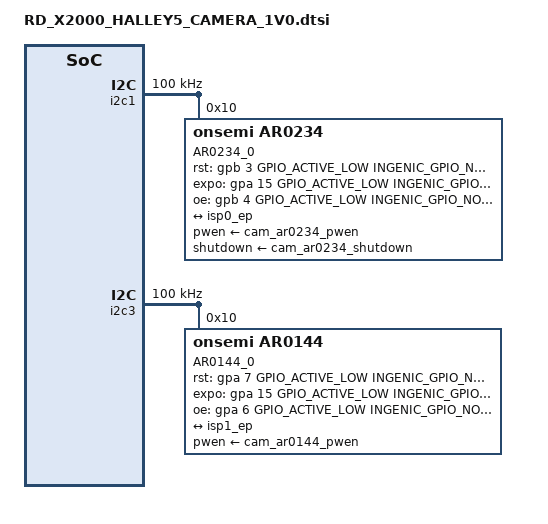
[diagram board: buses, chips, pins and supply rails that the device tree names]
&i2c1 {
	status = "okay";
	clock-frequency = <100000>;
	timeout = <1000>;
	pinctrl-names = "default";
	pinctrl-0 = <&i2c1_pc>;

	AR0234_0:AR0234@0x10 {
		status = "ok";
		compatible = "onsemi,ar0234";
		reg = <0x10>;
		pinctrl-names = "default";
		pinctrl-0 = <&cim_vic_mclk_pc>;

		ingenic,rst-gpio = <&gpb 3 GPIO_ACTIVE_LOW INGENIC_GPIO_NOBIAS>;
		ingenic,expo-gpio = <&gpa 15 GPIO_ACTIVE_LOW INGENIC_GPIO_NOBIAS>;
		ingenic,oe-gpio = <&gpb 4 GPIO_ACTIVE_LOW INGENIC_GPIO_NOBIAS>;
		pwen-supply = <&cam_ar0234_pwen>;
		shutdown-supply = <&cam_ar0234_shutdown>;

		port {
			AR0234_ep0:endpoint {
				remote-endpoint = <&isp0_ep>;
			};
		};
	};
};

&i2c3 {
	status = "okay";
	clock-frequency = <100000>;
	timeout = <1000>;
	pinctrl-names = "default";
	pinctrl-0 = <&i2c3_pa>;

	AR0144_0:AR0144@0x10 {
		status = "ok";
		compatible = "onsemi,ar0144";
		reg = <0x10>;
		pinctrl-names = "default";
		pinctrl-0 = <&cim_vic_mclk_pe>;

		ingenic,rst-gpio = <&gpa 7 GPIO_ACTIVE_LOW INGENIC_GPIO_NOBIAS>;
		ingenic,expo-gpio = <&gpa 15 GPIO_ACTIVE_LOW INGENIC_GPIO_NOBIAS>;
		ingenic,oe-gpio = <&gpa 6 GPIO_ACTIVE_LOW INGENIC_GPIO_NOBIAS>;
		pwen-supply = <&cam_ar0144_pwen>;

		port {
			AR0144_ep0:endpoint {
				remote-endpoint = <&isp1_ep>;
			};
		};
	};
};

&isp0_ep {
	remote-endpoint = <&AR0234_ep0>;
	data-lanes = <0 1>;
	clk-lanes = <2>;
};

&isp1_ep {
	remote-endpoint = <&AR0144_ep0>;
	data-lanes = <3 4>;
	clk-lanes = <5>;
};

